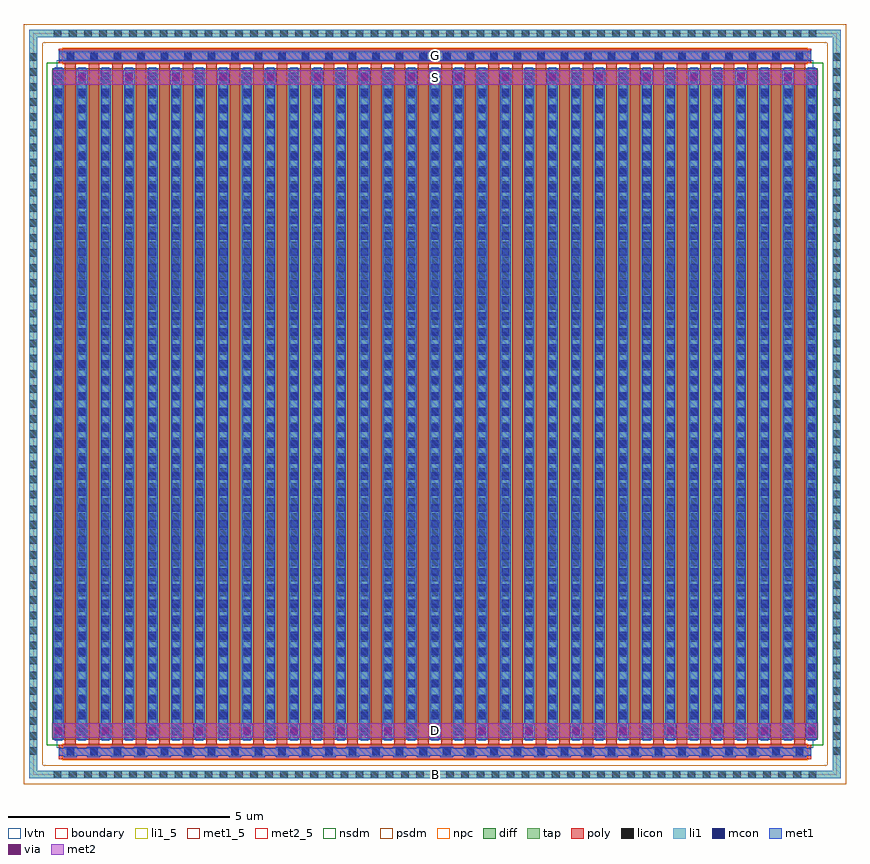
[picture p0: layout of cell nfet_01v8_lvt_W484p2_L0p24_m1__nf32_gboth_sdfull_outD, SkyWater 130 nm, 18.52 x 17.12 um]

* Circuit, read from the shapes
.subckt nfet_01v8_lvt_W484p2_L0p24_m1__nf32_gboth_sdfull_outD B D G S
XM1 S G D B sky130_fd_pr__nfet_01v8_lvt w=15.13 l=0.24 m=32
.ends

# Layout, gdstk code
import gdstk
lib = gdstk.Library(unit=1e-6, precision=1e-09)
def R(c, l, rs):  # rectangles x0, y0, x1, y1
    for r in rs: c.add(gdstk.rectangle(r[:2], r[2:], *l))
def A(c, l, x, y, w, h, nx, ny, dx, dy):  # array of equal rectangles
    R(c, l, [(x+i*dx, y+j*dy, x+i*dx+w, y+j*dy+h) for i in range(nx) for j in range(ny)])
diff = (65, 20)
tap = (65, 44)
poly = (66, 20)
licon = (66, 44)
li1_5 = (67, 5)
li1 = (67, 20)
mcon = (67, 44)
met1_5 = (68, 5)
met1 = (68, 20)
via = (68, 44)
met2_5 = (69, 5)
met2 = (69, 20)
nsdm = (93, 44)
psdm = (94, 20)
npc = (95, 20)
lvtn = (125, 44)
boundary = (235, 4)

sky130_fd_pr__nfet_01v8_ = lib.new_cell('sky130_fd_pr__nfet_01v8_lvt_HR2BRV')
R(sky130_fd_pr__nfet_01v8_, diff, [(-8.625,-7.565,8.625,7.565)])
R(sky130_fd_pr__nfet_01v8_, tap, [(-9.135,-8.435,9.135,-8.265), (-9.135,-8.265,-8.965,8.265), (8.965,-8.265,9.135,8.265), (-9.135,8.265,9.135,8.435)])
A(sky130_fd_pr__nfet_01v8_, poly, -8.335, -7.675, 0.24, 15.35, 32, 1, 0.53, 0)
R(sky130_fd_pr__nfet_01v8_, poly, [(-8.48,-8.005,8.48,-7.675), (-8.48,7.675,8.48,8.005)])
A(sky130_fd_pr__nfet_01v8_, licon, -8.585, -8.435, 0.17, 0.17, 51, 2, 0.34, 16.7)
A(sky130_fd_pr__nfet_01v8_, licon, -8.3, -7.925, 0.17, 0.17, 32, 2, 0.53, 15.68)
A(sky130_fd_pr__nfet_01v8_, licon, -9.135, -7.905, 0.17, 0.17, 1, 47, 0, 0.34)
A(sky130_fd_pr__nfet_01v8_, licon, 8.965, -7.905, 0.17, 0.17, 1, 47, 0, 0.34)
A(sky130_fd_pr__nfet_01v8_, licon, -8.565, -7.395, 0.17, 0.17, 33, 44, 0.53, 0.34)
A(sky130_fd_pr__nfet_01v8_, li1, -8.565, -7.585, 0.17, 15.17, 33, 1, 0.53, 0)
R(sky130_fd_pr__nfet_01v8_, li1, [(-9.135,-8.435,9.135,-8.265), (-9.135,-8.265,-8.965,8.265), (8.965,-8.265,9.135,8.265), (-8.48,-7.925,8.48,-7.755), (-8.48,7.755,8.48,7.925), (-9.135,8.265,9.135,8.435)])
A(sky130_fd_pr__nfet_01v8_, mcon, -8.3, -7.925, 0.17, 0.17, 32, 2, 0.53, 15.68)
A(sky130_fd_pr__nfet_01v8_, mcon, -8.565, -7.465, 0.17, 0.17, 33, 42, 0.53, 0.36)
A(sky130_fd_pr__nfet_01v8_, met1, -8.36, -7.955, 0.29, 0.03, 32, 2, 0.53, 0.2)
A(sky130_fd_pr__nfet_01v8_, met1, -8.595, -7.565, 0.23, 15.13, 33, 1, 0.53, 0)
A(sky130_fd_pr__nfet_01v8_, met1, -8.36, 7.725, 0.29, 0.03, 32, 2, 0.53, 0.2)
R(sky130_fd_pr__nfet_01v8_, met1, [(-8.48,-7.925,8.48,-7.755), (-8.48,7.755,8.48,7.925)])
R(sky130_fd_pr__nfet_01v8_, nsdm, [(-8.75,-7.69,8.75,7.69)])
R(sky130_fd_pr__nfet_01v8_, psdm, [(-9.26,-8.56,9.26,-8.14), (-9.26,-8.14,-8.84,8.14), (8.84,-8.14,9.26,8.14), (-9.26,8.14,9.26,8.56)])
R(sky130_fd_pr__nfet_01v8_, npc, [(-8.4,-8.025,8.4,-7.655), (-8.4,7.655,8.4,8.025)])
R(sky130_fd_pr__nfet_01v8_, lvtn, [(-8.515,-7.745,8.515,7.745)])
R(sky130_fd_pr__nfet_01v8_, boundary, [(-9.05,-8.35,9.05,8.35)])
sky130_fd_pr__nfet_01v8_.add(gdstk.Label('B', (0,-8.35), layer=67, texttype=5))
sky130_fd_pr__nfet_01v8_.add(gdstk.Label('D0', (-8.48,0), layer=67, texttype=5))
sky130_fd_pr__nfet_01v8_.add(gdstk.Label('G', (8.215,7.84), layer=67, texttype=5))
sky130_fd_pr__nfet_01v8_.add(gdstk.Label('G', (7.685,7.84), layer=67, texttype=5))
sky130_fd_pr__nfet_01v8_.add(gdstk.Label('G', (7.155,7.84), layer=67, texttype=5))
sky130_fd_pr__nfet_01v8_.add(gdstk.Label('G', (6.625,7.84), layer=67, texttype=5))
sky130_fd_pr__nfet_01v8_.add(gdstk.Label('G', (6.095,7.84), layer=67, texttype=5))
sky130_fd_pr__nfet_01v8_.add(gdstk.Label('G', (5.565,7.84), layer=67, texttype=5))
sky130_fd_pr__nfet_01v8_.add(gdstk.Label('G', (5.035,7.84), layer=67, texttype=5))
sky130_fd_pr__nfet_01v8_.add(gdstk.Label('G', (4.505,7.84), layer=67, texttype=5))
sky130_fd_pr__nfet_01v8_.add(gdstk.Label('G', (3.975,7.84), layer=67, texttype=5))
sky130_fd_pr__nfet_01v8_.add(gdstk.Label('G', (3.445,7.84), layer=67, texttype=5))
sky130_fd_pr__nfet_01v8_.add(gdstk.Label('G', (2.915,7.84), layer=67, texttype=5))
sky130_fd_pr__nfet_01v8_.add(gdstk.Label('G', (2.385,7.84), layer=67, texttype=5))
sky130_fd_pr__nfet_01v8_.add(gdstk.Label('G', (1.855,7.84), layer=67, texttype=5))
sky130_fd_pr__nfet_01v8_.add(gdstk.Label('G', (1.325,7.84), layer=67, texttype=5))
sky130_fd_pr__nfet_01v8_.add(gdstk.Label('G', (0.795,7.84), layer=67, texttype=5))
sky130_fd_pr__nfet_01v8_.add(gdstk.Label('G', (0.265,7.84), layer=67, texttype=5))
sky130_fd_pr__nfet_01v8_.add(gdstk.Label('G', (-0.265,7.84), layer=67, texttype=5))
sky130_fd_pr__nfet_01v8_.add(gdstk.Label('G', (-0.795,7.84), layer=67, texttype=5))
sky130_fd_pr__nfet_01v8_.add(gdstk.Label('G', (-1.325,7.84), layer=67, texttype=5))
sky130_fd_pr__nfet_01v8_.add(gdstk.Label('G', (-1.855,7.84), layer=67, texttype=5))
sky130_fd_pr__nfet_01v8_.add(gdstk.Label('G', (-2.385,7.84), layer=67, texttype=5))
sky130_fd_pr__nfet_01v8_.add(gdstk.Label('G', (-2.915,7.84), layer=67, texttype=5))
sky130_fd_pr__nfet_01v8_.add(gdstk.Label('G', (-3.445,7.84), layer=67, texttype=5))
sky130_fd_pr__nfet_01v8_.add(gdstk.Label('G', (-3.975,7.84), layer=67, texttype=5))
sky130_fd_pr__nfet_01v8_.add(gdstk.Label('G', (-4.505,7.84), layer=67, texttype=5))
sky130_fd_pr__nfet_01v8_.add(gdstk.Label('G', (-5.035,7.84), layer=67, texttype=5))
sky130_fd_pr__nfet_01v8_.add(gdstk.Label('G', (-5.565,7.84), layer=67, texttype=5))
sky130_fd_pr__nfet_01v8_.add(gdstk.Label('G', (-6.095,7.84), layer=67, texttype=5))
sky130_fd_pr__nfet_01v8_.add(gdstk.Label('G', (-6.625,7.84), layer=67, texttype=5))
sky130_fd_pr__nfet_01v8_.add(gdstk.Label('G', (-7.155,7.84), layer=67, texttype=5))
sky130_fd_pr__nfet_01v8_.add(gdstk.Label('G', (-7.685,7.84), layer=67, texttype=5))
sky130_fd_pr__nfet_01v8_.add(gdstk.Label('G', (-8.215,7.84), layer=67, texttype=5))
sky130_fd_pr__nfet_01v8_.add(gdstk.Label('S1', (-7.95,0), layer=67, texttype=5))
sky130_fd_pr__nfet_01v8_.add(gdstk.Label('D2', (-7.42,0), layer=67, texttype=5))
sky130_fd_pr__nfet_01v8_.add(gdstk.Label('S3', (-6.89,0), layer=67, texttype=5))
sky130_fd_pr__nfet_01v8_.add(gdstk.Label('D4', (-6.36,0), layer=67, texttype=5))
sky130_fd_pr__nfet_01v8_.add(gdstk.Label('S5', (-5.83,0), layer=67, texttype=5))
sky130_fd_pr__nfet_01v8_.add(gdstk.Label('D6', (-5.3,0), layer=67, texttype=5))
sky130_fd_pr__nfet_01v8_.add(gdstk.Label('S7', (-4.77,0), layer=67, texttype=5))
sky130_fd_pr__nfet_01v8_.add(gdstk.Label('D8', (-4.24,0), layer=67, texttype=5))
sky130_fd_pr__nfet_01v8_.add(gdstk.Label('S9', (-3.71,0), layer=67, texttype=5))
sky130_fd_pr__nfet_01v8_.add(gdstk.Label('D10', (-3.18,0), layer=67, texttype=5))
sky130_fd_pr__nfet_01v8_.add(gdstk.Label('S11', (-2.65,0), layer=67, texttype=5))
sky130_fd_pr__nfet_01v8_.add(gdstk.Label('D12', (-2.12,0), layer=67, texttype=5))
sky130_fd_pr__nfet_01v8_.add(gdstk.Label('S13', (-1.59,0), layer=67, texttype=5))
sky130_fd_pr__nfet_01v8_.add(gdstk.Label('D14', (-1.06,0), layer=67, texttype=5))
sky130_fd_pr__nfet_01v8_.add(gdstk.Label('S15', (-0.53,0), layer=67, texttype=5))
sky130_fd_pr__nfet_01v8_.add(gdstk.Label('D16', (0,0), layer=67, texttype=5))
sky130_fd_pr__nfet_01v8_.add(gdstk.Label('S17', (0.53,0), layer=67, texttype=5))
sky130_fd_pr__nfet_01v8_.add(gdstk.Label('D18', (1.06,0), layer=67, texttype=5))
sky130_fd_pr__nfet_01v8_.add(gdstk.Label('S19', (1.59,0), layer=67, texttype=5))
sky130_fd_pr__nfet_01v8_.add(gdstk.Label('D20', (2.12,0), layer=67, texttype=5))
sky130_fd_pr__nfet_01v8_.add(gdstk.Label('S21', (2.65,0), layer=67, texttype=5))
sky130_fd_pr__nfet_01v8_.add(gdstk.Label('D22', (3.18,0), layer=67, texttype=5))
sky130_fd_pr__nfet_01v8_.add(gdstk.Label('S23', (3.71,0), layer=67, texttype=5))
sky130_fd_pr__nfet_01v8_.add(gdstk.Label('D24', (4.24,0), layer=67, texttype=5))
sky130_fd_pr__nfet_01v8_.add(gdstk.Label('S25', (4.77,0), layer=67, texttype=5))
sky130_fd_pr__nfet_01v8_.add(gdstk.Label('D26', (5.3,0), layer=67, texttype=5))
sky130_fd_pr__nfet_01v8_.add(gdstk.Label('S27', (5.83,0), layer=67, texttype=5))
sky130_fd_pr__nfet_01v8_.add(gdstk.Label('D28', (6.36,0), layer=67, texttype=5))
sky130_fd_pr__nfet_01v8_.add(gdstk.Label('S29', (6.89,0), layer=67, texttype=5))
sky130_fd_pr__nfet_01v8_.add(gdstk.Label('D30', (7.42,0), layer=67, texttype=5))
sky130_fd_pr__nfet_01v8_.add(gdstk.Label('S31', (7.95,0), layer=67, texttype=5))

nfet_01v8_lvt_w484p2_l0p = lib.new_cell('nfet_01v8_lvt_W484p2_L0p24_m1__nf32_gboth_sdfull_outD')
R(nfet_01v8_lvt_w484p2_l0p, li1_5, [(8.965,-0.085,9.135,0.085)])
R(nfet_01v8_lvt_w484p2_l0p, li1, [(8.965,-0.085,9.135,0.085)])
R(nfet_01v8_lvt_w484p2_l0p, met1_5, [(0.57,16.075,17.53,16.305)])
A(nfet_01v8_lvt_w484p2_l0p, met1, 0.44, 0.835, 0.26, 0.32, 17, 1, 1.06, 0)
A(nfet_01v8_lvt_w484p2_l0p, met1, 0.97, 15.545, 0.26, 0.32, 16, 1, 1.06, 0)
R(nfet_01v8_lvt_w484p2_l0p, met1, [(0.57,16.075,17.53,16.305)])
A(nfet_01v8_lvt_w484p2_l0p, via, 0.495, 0.92, 0.15, 0.15, 17, 1, 1.06, 0)
A(nfet_01v8_lvt_w484p2_l0p, via, 1.025, 15.63, 0.15, 0.15, 16, 1, 1.06, 0)
R(nfet_01v8_lvt_w484p2_l0p, met2_5, [(0.435,0.835,17.665,1.155), (0.435,15.545,17.665,15.865)])
R(nfet_01v8_lvt_w484p2_l0p, met2, [(0.435,0.835,17.665,1.155), (0.435,15.545,17.665,15.865)])
nfet_01v8_lvt_w484p2_l0p.add(gdstk.Reference(sky130_fd_pr__nfet_01v8_, (9.05,8.35)))
nfet_01v8_lvt_w484p2_l0p.add(gdstk.Label('S', (9.05,15.705), layer=69, texttype=5))
nfet_01v8_lvt_w484p2_l0p.add(gdstk.Label('D', (9.05,0.995), layer=69, texttype=5))
nfet_01v8_lvt_w484p2_l0p.add(gdstk.Label('G', (9.05,16.19), layer=68, texttype=5))
nfet_01v8_lvt_w484p2_l0p.add(gdstk.Label('B', (9.05,0), layer=67, texttype=5))

lib.write_gds('nfet_01v8_lvt_W484p2_L0p24_m1__nf32_gboth_sdfull_outD.gds')
